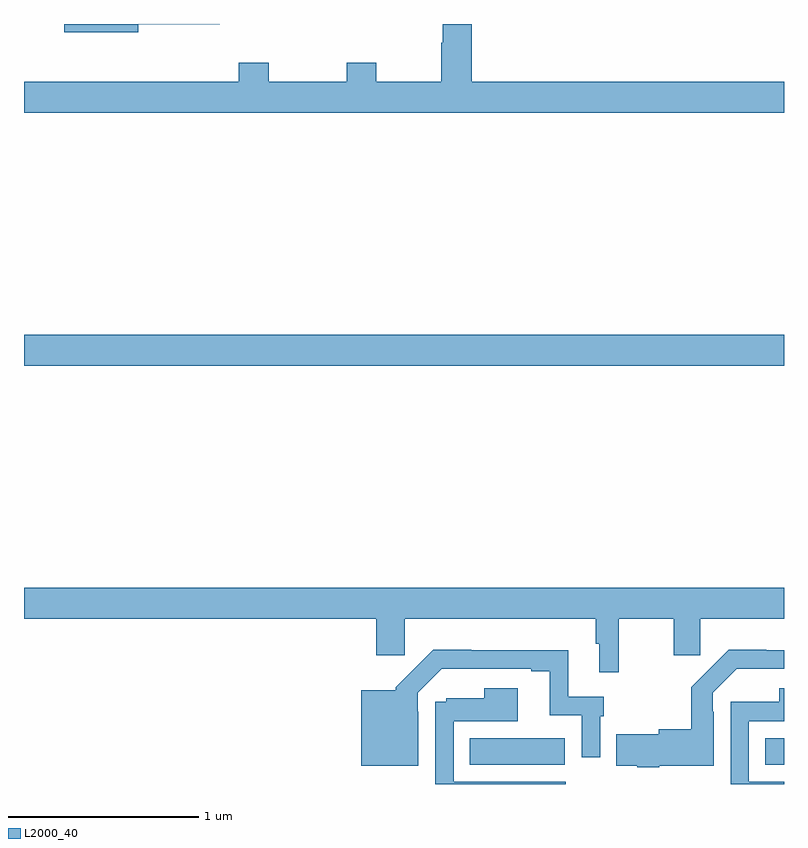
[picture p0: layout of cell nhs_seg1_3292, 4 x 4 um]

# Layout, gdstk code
import gdstk
lib = gdstk.Library(unit=1e-6, precision=1e-09)
def R(c, l, rs):  # rectangles x0, y0, x1, y1
    for r in rs: c.add(gdstk.rectangle(r[:2], r[2:], *l))
def P(c, l, *ps):  # polygons
    for p in ps: c.add(gdstk.Polygon(p, *l))
L2000_40 = (2000, 40)

nhs_seg1_3292 = lib.new_cell('nhs_seg1_3292')
R(nhs_seg1_3292, L2000_40, [(291.346,548.3,291.847,548.44), (292.9,548.3,293,548.44), (289,550.4,293,550.564)])
P(nhs_seg1_3292, L2000_40, [(293,551.896),(291.356,551.896),(291.356,552.199),(291.203,552.199),(291.203,552.101),(291.196,552.101),(291.196,551.896),(290.853,551.896),(290.853,551.995),(290.698,551.995),(290.698,551.896),(290.289,551.896),(290.289,551.995),(290.129,551.995),(290.129,551.896),(289,551.896),(289,551.732),(293,551.732)],
  [(289.6,552.198),(290.03,552.198),(290.03,552.199),(289.212,552.199),(289.212,552.155),(289.6,552.155)],
  [(292.13,549.068),(292.421,549.068),(292.421,548.877),(292.559,548.877),(292.559,549.068),(293,549.068),(293,549.232),(289,549.232),(289,549.068),(290.855,549.068),(290.855,548.877),(291.005,548.877),(291.005,549.068),(292.009,549.068),(292.009,548.936),(292.028,548.936),(292.028,548.787),(292.13,548.787)],
  [(291.076,548.579),(291.072,548.579),(291.072,548.679),(291.198,548.805),(291.671,548.805),(291.671,548.793),(291.767,548.793),(291.767,548.562),(291.936,548.562),(291.936,548.34),(292.032,548.34),(292.032,548.555),(292.052,548.555),(292.052,548.658),(291.865,548.658),(291.865,548.902),(291.353,548.902),(291.353,548.905),(291.154,548.905),(290.957,548.707),(290.957,548.692),(290.774,548.692),(290.774,548.294),(291.076,548.294)],
  [(292.344,548.294),(292.629,548.294),(292.629,548.579),(292.626,548.579),(292.626,548.679),(292.752,548.805),(293,548.805),(293,548.902),(292.907,548.902),(292.907,548.905),(292.708,548.905),(292.511,548.707),(292.511,548.488),(292.34,548.488),(292.34,548.46),(292.117,548.46),(292.117,548.294),(292.228,548.294),(292.228,548.287),(292.344,548.287)],
  [(291.85,548.211),(291.261,548.211),(291.261,548.528),(291.598,548.528),(291.598,548.704),(291.422,548.704),(291.422,548.65),(291.222,548.65),(291.222,548.631),(291.165,548.631),(291.165,548.199),(291.85,548.199)],
  [(293,548.211),(292.815,548.211),(292.815,548.528),(293,548.528),(293,548.704),(292.976,548.704),(292.976,548.632),(292.719,548.632),(292.719,548.199),(293,548.199)])

lib.write_gds('nhs_seg1_3292.gds')
